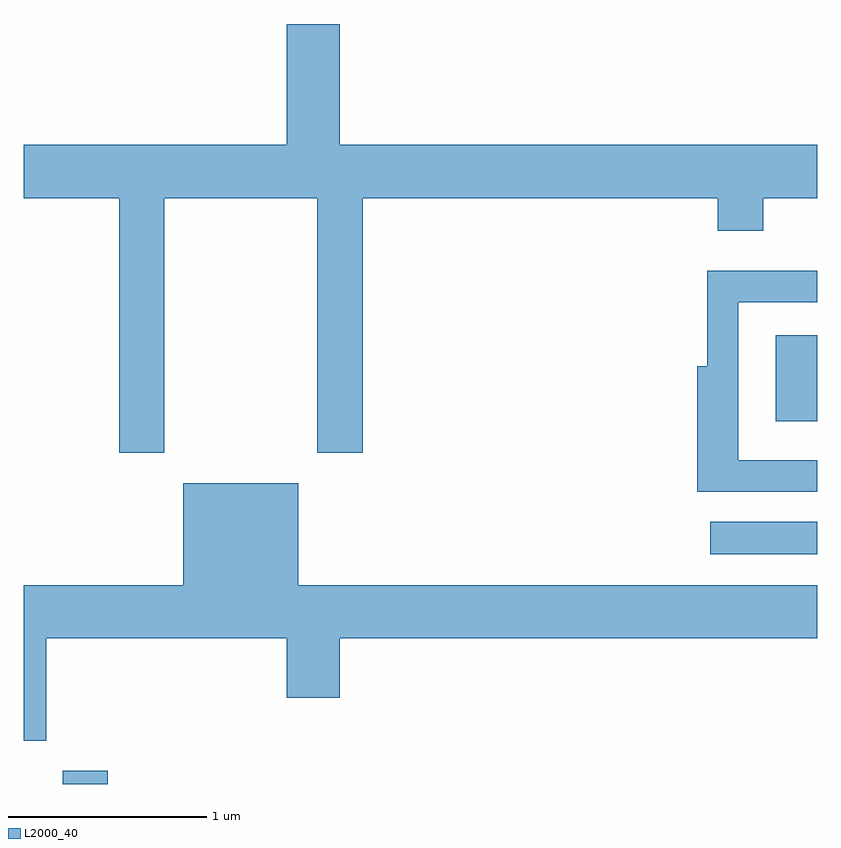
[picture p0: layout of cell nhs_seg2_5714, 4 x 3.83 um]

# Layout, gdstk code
import gdstk
lib = gdstk.Library(unit=1e-6, precision=1e-09)
def R(c, l, rs):  # rectangles x0, y0, x1, y1
    for r in rs: c.add(gdstk.rectangle(r[:2], r[2:], *l))
def P(c, l, *ps):  # polygons
    for p in ps: c.add(gdstk.Polygon(p, *l))
L2000_40 = (2000, 40)

nhs_seg2_5714 = lib.new_cell('nhs_seg2_5714')
R(nhs_seg2_5714, L2000_40, [(353.806,1049.802,354.034,1049.869), (357.073,1050.961,357.611,1051.124), (357.401,1051.631,357.611,1052.064)])
P(nhs_seg2_5714, L2000_40, [(354.319,1052.756),(355.091,1052.756),(355.091,1051.471),(355.319,1051.471),(355.319,1052.756),(357.111,1052.756),(357.111,1052.591),(357.339,1052.591),(357.339,1052.756),(357.611,1052.756),(357.611,1053.024),(355.204,1053.024),(355.204,1053.634),(354.936,1053.634),(354.936,1053.024),(353.611,1053.024),(353.611,1052.756),(354.091,1052.756),(354.091,1051.471),(354.319,1051.471)],
  [(357.611,1051.434),(357.214,1051.434),(357.214,1052.231),(357.611,1052.231),(357.611,1052.389),(357.056,1052.389),(357.056,1051.909),(357.006,1051.909),(357.006,1051.276),(357.611,1051.276)],
  [(353.724,1050.536),(354.936,1050.536),(354.936,1050.236),(355.204,1050.236),(355.204,1050.536),(357.611,1050.536),(357.611,1050.804),(354.994,1050.804),(354.994,1051.319),(354.416,1051.319),(354.416,1050.804),(353.611,1050.804),(353.611,1050.021),(353.724,1050.021)])

lib.write_gds('nhs_seg2_5714.gds')
